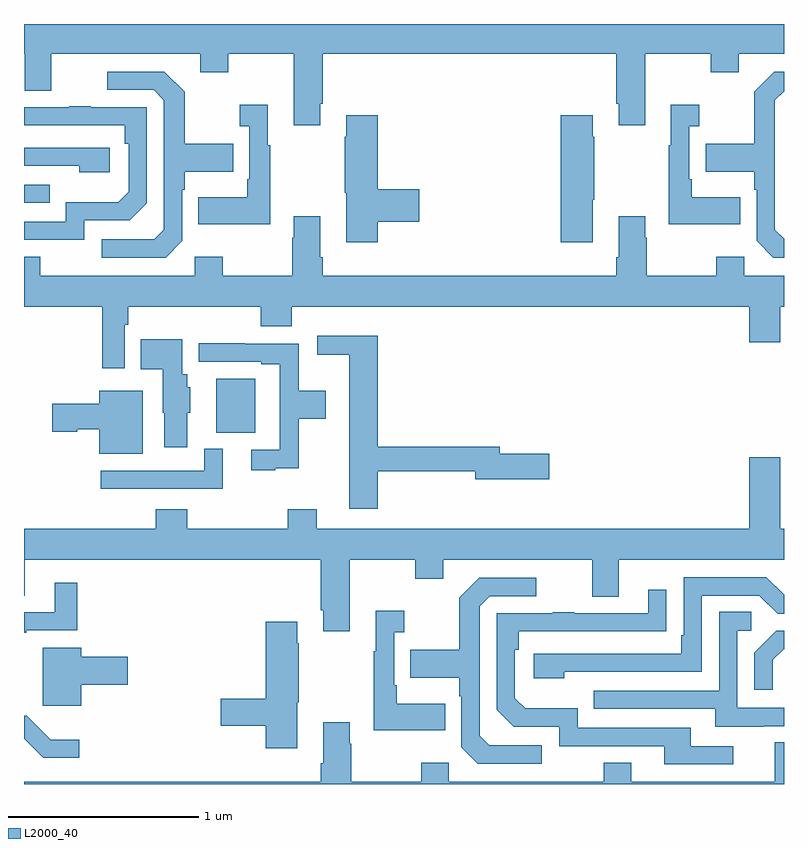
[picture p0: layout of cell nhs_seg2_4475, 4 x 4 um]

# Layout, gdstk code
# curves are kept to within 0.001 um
import gdstk
lib = gdstk.Library(unit=1e-6, precision=1e-09)
def R(c, l, rs):  # rectangles x0, y0, x1, y1
    for r in rs: c.add(gdstk.rectangle(r[:2], r[2:], *l))
def P(c, l, *ps):  # polygons
    for p in ps: c.add(gdstk.Polygon(p, *l))
L2000_40 = (2000, 40)

nhs_seg2_4475 = lib.new_cell('nhs_seg2_4475')
R(nhs_seg2_4475, L2000_40, [(354.011,637.649,354.217,637.933), (353,638.859,353.135,638.955)])
P(nhs_seg2_4475, L2000_40, [(354.559,639.379),(354.572,639.379),(354.572,639.644),(356.117,639.644),(356.117,639.379),(356.129,639.379),(356.129,639.267),(356.269,639.267),(356.269,639.644),(356.614,639.644),(356.614,639.545),(356.761,639.545),(356.761,639.644),(357,639.644),(357,639.8),(353,639.8),(353,639.644),(353.003,639.644),(353.003,639.45),(353.143,639.45),(353.143,639.644),(353.927,639.644),(353.927,639.545),(354.075,639.545),(354.075,639.644),(354.419,639.644),(354.419,639.267),(354.559,639.267)],
  [(357,638.67),(356.952,638.718),(356.952,639.399),(357,639.447),(357,639.549),(356.949,639.549),(356.844,639.443),(356.844,639.171),(356.587,639.171),(356.587,639.023),(356.844,639.023),(356.844,638.927),(356.856,638.927),(356.856,638.658),(356.943,638.571),(357,638.571)],
  [(353.832,638.658),(353.832,638.927),(353.845,638.927),(353.845,639.023),(354.101,639.023),(354.101,639.171),(353.845,639.171),(353.845,639.443),(353.739,639.549),(353.439,639.549),(353.439,639.453),(353.682,639.453),(353.736,639.399),(353.736,638.718),(353.685,638.667),(353.409,638.667),(353.409,638.571),(353.745,638.571)],
  [(356.771,638.887),(356.515,638.887),(356.515,638.983),(356.502,638.983),(356.502,639.263),(356.554,639.263),(356.554,639.376),(356.405,639.376),(356.405,639.163),(356.394,639.163),(356.394,638.747),(356.771,638.747)],
  [(354.295,639.163),(354.283,639.163),(354.283,639.376),(354.135,639.376),(354.135,639.263),(354.186,639.263),(354.186,638.983),(354.174,638.983),(354.174,638.887),(353.917,638.887),(353.917,638.747),(354.295,638.747)],
  [(353.316,638.766),(353.556,638.766),(353.646,638.856),(353.646,639.363),(353.351,639.363),(353.351,639.368),(353.239,639.368),(353.239,639.363),(353,639.363),(353,639.267),(353.53,639.267),(353.53,639.17),(353.55,639.17),(353.55,638.916),(353.497,638.863),(353.22,638.863),(353.22,638.76),(353,638.76),(353,638.664),(353.316,638.664)],
  [(355.993,638.875),(356.001,638.875),(356.001,639.206),(355.993,639.206),(355.993,639.319),(355.826,639.319),(355.826,638.652),(355.993,638.652)],
  [(354.863,638.759),(355.081,638.759),(355.081,638.93),(354.863,638.93),(354.863,639.319),(354.695,639.319),(354.695,639.206),(354.688,639.206),(354.688,638.913),(354.695,638.913),(354.695,638.652),(354.863,638.652)],
  [(353.452,639.15),(353,639.15),(353,639.054),(353.291,639.054),(353.291,639.02),(353.452,639.02)],
  [(353.529,638.216),(353.549,638.216),(353.549,638.312),(354.245,638.312),(354.245,638.21),(354.41,638.21),(354.41,638.312),(356.816,638.312),(356.816,638.124),(356.98,638.124),(356.98,638.312),(357,638.312),(357,638.476),(356.79,638.476),(356.79,638.575),(356.644,638.575),(356.644,638.476),(356.277,638.476),(356.277,638.675),(356.269,638.675),(356.269,638.788),(356.129,638.788),(356.129,638.572),(356.117,638.572),(356.117,638.476),(354.572,638.476),(354.572,638.572),(354.559,638.572),(354.559,638.788),(354.419,638.788),(354.419,638.675),(354.412,638.675),(354.412,638.476),(354.045,638.476),(354.045,638.575),(353.898,638.575),(353.898,638.476),(353.085,638.476),(353.085,638.575),(353,638.575),(353,638.312),(353.413,638.312),(353.413,637.989),(353.529,637.989)],
  [(354.863,637.446),(355.376,637.446),(355.376,637.403),(355.765,637.403),(355.765,637.538),(355.504,637.538),(355.504,637.574),(354.863,637.574),(354.863,638.158),(354.543,638.158),(354.543,638.06),(354.713,638.06),(354.713,637.248),(354.863,637.248)],
  [(353.86,637.755),(353.875,637.755),(353.875,637.887),(353.86,637.887),(353.86,637.956),(353.833,637.956),(353.833,638.14),(353.614,638.14),(353.614,637.982),(353.729,637.982),(353.729,637.755),(353.738,637.755),(353.738,637.572),(353.86,637.572)],
  [(354.323,637.463),(354.446,637.463),(354.446,637.723),(354.589,637.723),(354.589,637.87),(354.446,637.87),(354.446,638.118),(354.161,638.118),(354.161,638.12),(353.919,638.12),(353.919,638.022),(354.248,638.022),(354.248,638.01),(354.345,638.01),(354.345,637.56),(354.195,637.56),(354.195,637.452),(354.323,637.452)],
  [(353.626,637.87),(353.396,637.87),(353.396,637.802),(353.148,637.802),(353.148,637.655),(353.28,637.655),(353.28,637.667),(353.396,637.667),(353.396,637.538),(353.626,637.538)],
  [(354.046,637.564),(353.949,637.564),(353.949,637.449),(353.403,637.449),(353.403,637.353),(354.046,637.353)],
  [(354.715,636.98),(355.06,636.98),(355.06,636.881),(355.207,636.881),(355.207,636.98),(355.991,636.98),(355.991,636.786),(356.131,636.786),(356.131,636.98),(357,636.98),(357,637.144),(356.98,637.144),(356.98,637.519),(356.816,637.519),(356.816,637.144),(354.541,637.144),(354.541,637.246),(354.389,637.246),(354.389,637.144),(353.858,637.144),(353.858,637.246),(353.693,637.246),(353.693,637.144),(353,637.144),(353,636.79),(353.005,636.79),(353.005,636.98),(354.563,636.98),(354.563,636.715),(354.575,636.715),(354.575,636.603),(354.715,636.603)],
  [(355.844,636.39),(356.568,636.39),(356.568,636.792),(356.871,636.792),(356.967,636.696),(357,636.696),(357,636.795),(356.907,636.888),(356.472,636.888),(356.472,636.583),(356.459,636.583),(356.459,636.486),(355.683,636.486),(355.683,636.356),(355.844,636.356)],
  [(355.726,636.003),(355.449,636.003),(355.398,636.054),(355.398,636.735),(355.452,636.789),(355.696,636.789),(355.696,636.885),(355.395,636.885),(355.29,636.779),(355.29,636.507),(355.033,636.507),(355.033,636.359),(355.29,636.359),(355.29,636.263),(355.302,636.263),(355.302,635.994),(355.389,635.907),(355.726,635.907)],
  [(353.011,636.609),(353.279,636.609),(353.279,636.859),(353.162,636.859),(353.162,636.705),(353,636.705),(353,636.597),(353.011,636.597)],
  [(356.734,636),(356.509,636),(356.509,636.096),(355.914,636.096),(355.914,636.199),(355.637,636.199),(355.584,636.252),(355.584,636.506),(355.604,636.506),(355.604,636.603),(356.381,636.604),(356.381,636.823),(356.285,636.823),(356.285,636.699),(355.895,636.699),(355.895,636.704),(355.783,636.704),(355.783,636.699),(355.488,636.699),(355.488,636.192),(355.578,636.102),(355.818,636.102),(355.818,636),(356.369,636),(356.369,635.904),(356.734,635.904)],
  [(355.217,636.223),(354.961,636.223),(354.961,636.319),(354.948,636.319),(354.948,636.599),(355,636.599),(355,636.712),(354.851,636.712),(354.851,636.499),(354.84,636.499),(354.84,636.083),(355.217,636.083)],
  [(356.893,636.105),(357,636.105),(357,636.201),(356.754,636.201),(356.754,636.606),(356.827,636.606),(356.827,636.707),(356.658,636.707),(356.658,636.291),(355.999,636.291),(355.999,636.195),(356.639,636.195),(356.639,636.101),(356.893,636.101)],
  [(354.439,636.231),(354.447,636.231),(354.447,636.542),(354.439,636.542),(354.439,636.655),(354.272,636.655),(354.272,636.248),(354.036,636.248),(354.036,636.106),(354.272,636.106),(354.272,635.988),(354.439,635.988)],
  [(356.941,636.453),(356.998,636.51),(357,636.51),(357,636.606),(356.96,636.606),(356.844,636.49),(356.844,636.297),(356.941,636.297)],
  [(353.302,636.323),(353.545,636.323),(353.545,636.47),(353.302,636.47),(353.302,636.517),(353.099,636.517),(353.099,636.212),(353.302,636.212)],
  [(353.29,636.034),(353.141,636.034),(353.015,636.16),(353,636.16),(353,636.037),(353.1,635.937),(353.29,635.937)],
  [(357,636.02),(356.951,636.02),(356.951,635.812),(356.197,635.812),(356.197,635.911),(356.05,635.911),(356.05,635.812),(355.236,635.812),(355.236,635.911),(355.09,635.911),(355.09,635.812),(354.723,635.812),(354.723,636.011),(354.715,636.011),(354.715,636.124),(354.575,636.124),(354.575,635.908),(354.563,635.908),(354.563,635.812),(353,635.812),(353,635.8),(357,635.8)])

lib.write_gds('nhs_seg2_4475.gds')
